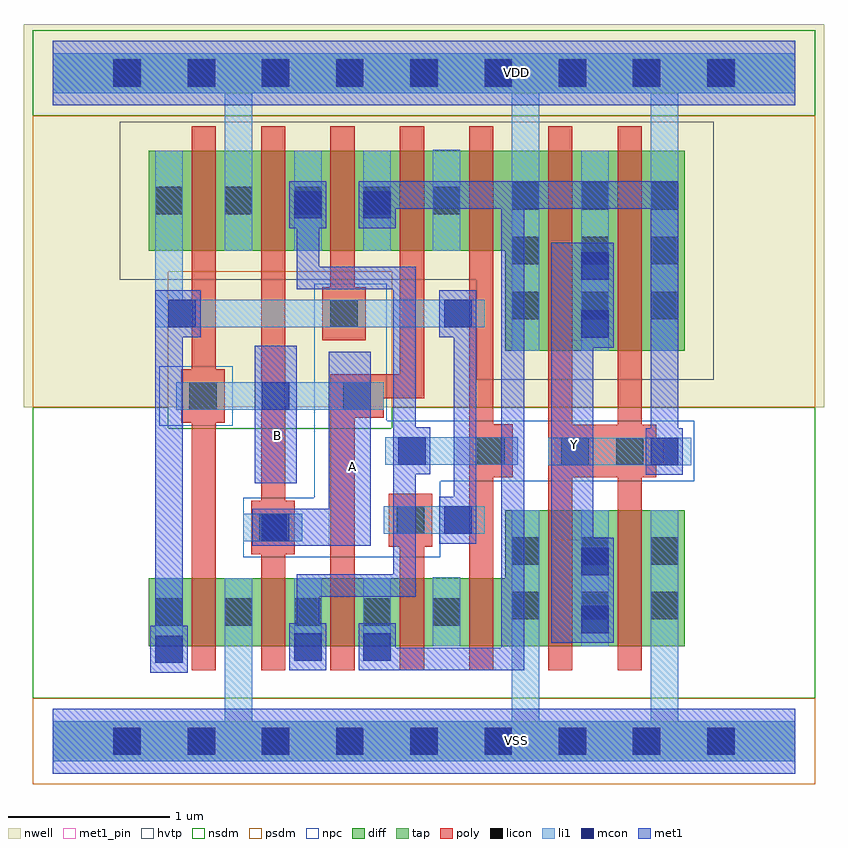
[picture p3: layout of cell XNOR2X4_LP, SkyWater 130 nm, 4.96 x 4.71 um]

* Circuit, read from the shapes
.subckt XNOR2X4_LP A B VDD VSS Y
XM1 VSS B n1 VSS sky130_fd_pr__nfet_01v8 w=0.42 l=0.15
XM2 n2 A VSS VSS sky130_fd_pr__nfet_01v8 w=0.42 l=0.15
XM3 n3 B n2 VSS sky130_fd_pr__nfet_01v8 w=0.42 l=0.15
XM4 n4 n1 n3 VSS sky130_fd_pr__nfet_01v8 w=0.42 l=0.15
XM5 VSS n2 n4 VSS sky130_fd_pr__nfet_01v8 w=0.42 l=0.15
XM6 Y n3 VSS VSS sky130_fd_pr__nfet_01v8 w=0.84 l=0.15 m=2
XM7 VDD B n1 VDD sky130_fd_pr__pfet_01v8_hvt w=0.62 l=0.15
XM8 n2 A VDD VDD sky130_fd_pr__pfet_01v8_hvt w=0.62 l=0.15
XM9 n3 n1 n2 VDD sky130_fd_pr__pfet_01v8_hvt w=0.62 l=0.15
XM10 n5 B n3 VDD sky130_fd_pr__pfet_01v8_hvt w=0.62 l=0.15
XM11 VDD n2 n5 VDD sky130_fd_pr__pfet_01v8_hvt w=0.62 l=0.15
XM12 Y n3 VDD VDD sky130_fd_pr__pfet_01v8_hvt w=1.24 l=0.15 m=2
.ends

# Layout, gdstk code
from math import pi, radians
import gdstk
lib = gdstk.Library(unit=1e-6, precision=1e-09)
def R(c, l, rs):  # rectangles x0, y0, x1, y1
    for r in rs: c.add(gdstk.rectangle(r[:2], r[2:], *l))
def A(c, l, x, y, w, h, nx, ny, dx, dy):  # array of equal rectangles
    R(c, l, [(x+i*dx, y+j*dy, x+i*dx+w, y+j*dy+h) for i in range(nx) for j in range(ny)])
def P(c, l, *ps):  # polygons
    for p in ps: c.add(gdstk.Polygon(p, *l))
nwell = (64, 20)
diff = (65, 20)
tap = (65, 44)
poly = (66, 20)
licon = (66, 44)
li1 = (67, 20)
mcon = (67, 44)
met1_pin = (68, 16)
met1 = (68, 20)
hvtp = (78, 44)
nsdm = (93, 44)
psdm = (94, 20)
npc = (95, 20)

l1m1_c_cdns_758729379651 = lib.new_cell('L1M1_C_CDNS_7587293796512')
R(l1m1_c_cdns_758729379651, li1, [(-0.165,-0.085,0.165,0.085)])
R(l1m1_c_cdns_758729379651, mcon, [(-0.085,-0.085,0.085,0.085)])
R(l1m1_c_cdns_758729379651, met1, [(-0.145,-0.115,0.145,0.115)])

pyl1con_c_cdns_758729379 = lib.new_cell('PYL1CON_C_CDNS_758729379653')
R(pyl1con_c_cdns_758729379, poly, [(-0.135,-0.165,0.135,0.165)])
R(pyl1con_c_cdns_758729379, licon, [(-0.085,-0.085,0.085,0.085)])
R(pyl1con_c_cdns_758729379, npc, [(-0.185,-0.185,0.185,0.185)])

l1m1_c_cdns_758729379655 = lib.new_cell('L1M1_C_CDNS_758729379655')
R(l1m1_c_cdns_758729379655, li1, [(-0.085,-0.165,0.085,0.165)])
R(l1m1_c_cdns_758729379655, mcon, [(-0.085,-0.085,0.085,0.085)])
R(l1m1_c_cdns_758729379655, met1, [(-0.115,-0.145,0.115,0.145)])

l1m1_c_cdns_758729379659 = lib.new_cell('L1M1_C_CDNS_758729379659')
R(l1m1_c_cdns_758729379659, li1, [(-0.085,-0.345,0.085,0.345)])
R(l1m1_c_cdns_758729379659, mcon, [(-0.085,-0.265,0.085,-0.095), (-0.085,0.095,0.085,0.265)])
R(l1m1_c_cdns_758729379659, met1, [(-0.115,-0.325,0.115,0.325)])

licondiff_c_cdns_7587293 = lib.new_cell('LICONDIFF_C_CDNS_758729379657')
R(licondiff_c_cdns_7587293, diff, [(-0.125,-0.145,0.125,0.145)])
R(licondiff_c_cdns_7587293, licon, [(-0.085,-0.085,0.085,0.085), (-0.085,-0.085,0.085,0.085)])

l1m1_c_cdns_758729379654 = lib.new_cell('L1M1_C_CDNS_758729379654')
R(l1m1_c_cdns_758729379654, li1, [(-0.165,-0.085,0.165,0.085)])
R(l1m1_c_cdns_758729379654, mcon, [(-0.085,-0.085,0.085,0.085)])
R(l1m1_c_cdns_758729379654, met1, [(-0.115,-0.145,0.115,0.145)])

c_l1m1_c_cdns_758729379651 = lib.new_cell('L1M1_C_CDNS_7587293796513')
R(c_l1m1_c_cdns_758729379651, li1, [(-0.085,-0.085,0.085,0.165)])
R(c_l1m1_c_cdns_758729379651, mcon, [(-0.085,-0.085,0.085,0.085)])
R(c_l1m1_c_cdns_758729379651, met1, [(-0.115,-0.145,0.115,0.145)])

c_pyl1con_c_cdns_758729379 = lib.new_cell('PYL1CON_C_CDNS_7587293796514')
R(c_pyl1con_c_cdns_758729379, poly, [(-0.165,-0.135,0.165,0.135)])
R(c_pyl1con_c_cdns_758729379, licon, [(-0.085,-0.085,0.085,0.085)])
R(c_pyl1con_c_cdns_758729379, npc, [(-0.185,-0.185,0.185,0.185)])

c_l1m1_c_cdns_758729379651_ = lib.new_cell('L1M1_C_CDNS_7587293796515')
R(c_l1m1_c_cdns_758729379651_, li1, [(-0.085,-0.06,0.085,0.19)])
R(c_l1m1_c_cdns_758729379651_, mcon, [(-0.085,-0.06,0.085,0.11)])
R(c_l1m1_c_cdns_758729379651_, met1, [(-0.115,-0.12,0.115,0.17)])

xnor2x4_lp = lib.new_cell('XNOR2X4_LP')
R(xnor2x4_lp, nwell, [(-0.18,2.07,4.78,4.445)])
P(xnor2x4_lp, diff, [(3.915,3.66),(0.595,3.66),(0.595,3.04),(2.805,3.04),(2.805,2.42),(3.915,2.42)],
  [(3.915,1.43),(2.805,1.43),(2.805,1.01),(0.595,1.01),(0.595,0.59),(3.915,0.59)])
R(xnor2x4_lp, poly, [(0.86,0.44,1.01,3.81), (1.29,0.44,1.44,1.16), (2.15,0.44,2.3,1.37), (2.58,0.44,2.73,3.81), (1.29,1.165,1.44,3.81), (1.72,2.575,1.87,3.81)])
P(xnor2x4_lp, poly, [(2.3,3.81),(2.15,3.81),(2.15,2.275),(1.72,2.275),(1.72,0.44),(1.87,0.44),(1.87,2.125),(2.3,2.125)],
  [(3.79,1.88),(3.74,1.88),(3.74,1.96),(3.65,1.96),(3.65,3.81),(3.5,3.81),(3.5,1.96),(3.22,1.96),(3.22,3.81),(3.07,3.81),(3.07,0.44),(3.22,0.44),(3.22,1.635),(3.5,1.635),(3.5,0.44),(3.65,0.44),(3.65,1.635),(3.74,1.635),(3.74,1.71),(3.79,1.71)])
A(xnor2x4_lp, licon, 0.375, -0.085, 0.17, 0.17, 9, 2, 0.46, 4.14)
A(xnor2x4_lp, licon, 0.635, 0.715, 0.17, 0.17, 4, 2, 0.43, 2.55)
A(xnor2x4_lp, licon, 2.845, 0.755, 0.17, 0.17, 3, 2, 0.43, 0.34)
A(xnor2x4_lp, licon, 2.845, 2.615, 0.17, 0.17, 3, 3, 0.43, 0.34)
R(xnor2x4_lp, li1, [(0.635,0.59,0.805,1.01), (1.495,0.59,1.665,1.01), (1.925,0.59,2.095,1.01), (3.275,0.59,3.445,1.43), (3.275,2.42,3.445,3.66), (1.495,3.04,1.665,3.66), (1.925,3.04,2.095,3.66)])
P(xnor2x4_lp, li1, [(2.395,2.735),(0.805,2.735),(0.805,3.66),(0.635,3.66),(0.635,2.565),(2.395,2.565)],
  [(4.6,4.265),(0,4.265),(0,4.015),(1.065,4.015),(1.065,3.04),(1.235,3.04),(1.235,4.015),(2.845,4.015),(2.845,2.42),(3.015,2.42),(3.015,4.015),(3.705,4.015),(3.705,2.42),(3.875,2.42),(3.875,4.015),(4.6,4.015)],
  [(4.6,0.125),(3.875,0.125),(3.875,1.43),(3.705,1.43),(3.705,0.125),(3.015,0.125),(3.015,1.43),(2.845,1.43),(2.845,0.125),(1.235,0.125),(1.235,1.01),(1.065,1.01),(1.065,0.125),(0,0.125),(0,-0.125),(4.6,-0.125)])
A(xnor2x4_lp, mcon, 0.375, -0.085, 0.17, 0.17, 9, 2, 0.46, 4.14)
R(xnor2x4_lp, met1_pin, [(1.71,1.21,1.97,2.415), (3.09,1.245,3.35,2.485), (1.25,1.6,1.51,2.45)])
P(xnor2x4_lp, met1, [(1.97,2.415),(1.71,2.415),(1.71,1.44),(1.38,1.44),(1.38,1.21),(1.97,1.21)],
  [(3.875,3.47),(1.94,3.47),(1.94,3.3),(2.78,3.3),(2.78,0.58),(2,0.58),(2,0.44),(2.92,0.44),(2.92,3.3),(3.705,3.3),(3.705,1.795),(3.875,1.795)])
P(xnor2x4_lp, hvtp, [(4.095,3.84),(0.415,3.84),(0.415,2.86),(2.625,2.86),(2.625,2.24),(4.095,2.24)])
R(xnor2x4_lp, nsdm, [(-0.125,3.875,4.725,4.405)])
P(xnor2x4_lp, nsdm, [(4.725,2.07),(2.1,2.07),(2.1,1.94),(0.715,1.94),(0.715,2.07),(-0.125,2.07),(-0.125,0.265),(4.725,0.265)])
R(xnor2x4_lp, psdm, [(-0.125,-0.265,4.725,0.265)])
P(xnor2x4_lp, psdm, [(4.725,3.875),(-0.125,3.875),(-0.125,2.07),(0.715,2.07),(0.715,2.91),(2.1,2.91),(2.1,2.07),(4.725,2.07)])
R(xnor2x4_lp, npc, [(0.66,1.955,1.03,2.325)])
P(xnor2x4_lp, npc, [(3.975,1.985),(2.07,1.985),(2.07,2.835),(1.62,2.835),(1.62,1.51),(1.18,1.51),(1.18,1.14),(2.4,1.14),(2.4,1.61),(3.975,1.61)])
xnor2x4_lp.add(gdstk.FlexPath([(2.44,3.04),(2.44,3.665)], 0.17, ends="flush", simple_path=True, layer=67, datatype=20))  # li1
xnor2x4_lp.add(gdstk.FlexPath([(2.44,0.59),(2.44,1.015)], 0.17, ends="flush", simple_path=True, layer=67, datatype=20))  # li1
xnor2x4_lp.add(gdstk.FlexPath([(3.07,1.795),(3.74,1.795)], 0.17, ends="flush", simple_path=True, layer=67, datatype=20))  # li1
xnor2x4_lp.add(gdstk.FlexPath([(2.675,1.37),(2.05,1.37)], 0.17, ends="flush", simple_path=True, layer=67, datatype=20))  # li1
xnor2x4_lp.add(gdstk.FlexPath([(2.05,2.14),(0.765,2.14)], 0.17, ends="flush", simple_path=True, layer=67, datatype=20))  # li1
xnor2x4_lp.add(gdstk.FlexPath([(2.06,1.8),(2.88,1.8)], 0.17, ends="flush", simple_path=True, layer=67, datatype=20))  # li1
xnor2x4_lp.add(gdstk.FlexPath([(1.18,1.325),(1.53,1.325)], 0.17, ends="flush", simple_path=True, layer=67, datatype=20))  # li1
xnor2x4_lp.add(gdstk.FlexPath([(0,4.14),(4.6,4.14)], 0.4, ends="flush", simple_path=True, layer=68, datatype=20))  # met1
xnor2x4_lp.add(gdstk.FlexPath([(0,0),(4.6,0)], 0.4, ends="flush", simple_path=True, layer=68, datatype=20))  # met1
xnor2x4_lp.add(gdstk.FlexPath([(1.58,3.325),(1.58,2.87),(2.18,2.87),(2.18,0.965),(1.58,0.965),(1.58,0.585)], 0.14, ends="flush", simple_path=True, layer=68, datatype=20))  # met1
xnor2x4_lp.add(gdstk.FlexPath([(2.555,1.37),(2.555,2.65)], 0.14, ends="flush", simple_path=True, layer=68, datatype=20))  # met1
xnor2x4_lp.add(gdstk.FlexPath([(0.72,2.795),(0.72,0.425)], 0.17, ends="flush", simple_path=True, layer=68, datatype=20))  # met1
xnor2x4_lp.add(gdstk.FlexPath([(3.22,0.61),(3.22,3.09)], 0.26, ends="flush", simple_path=True, layer=68, datatype=20))  # met1
xnor2x4_lp.add(gdstk.FlexPath([(1.38,1.6),(1.38,2.45)], 0.26, ends="flush", simple_path=True, layer=68, datatype=20))  # met1
xnor2x4_lp.add(gdstk.FlexPath([(0,4.14),(4.6,4.14)], 0.25, ends="flush", simple_path=True, layer=65, datatype=44))  # tap
xnor2x4_lp.add(gdstk.FlexPath([(0,0),(4.6,0)], 0.25, ends="flush", simple_path=True, layer=65, datatype=44))  # tap
xnor2x4_lp.add(gdstk.FlexPath([(0,4.14),(4.6,4.14)], 0.4, ends="flush", simple_path=True, layer=68, datatype=16))  # met1_pin
xnor2x4_lp.add(gdstk.FlexPath([(0,0),(4.6,0)], 0.4, ends="flush", simple_path=True, layer=68, datatype=16))  # met1_pin
xnor2x4_lp.add(gdstk.Reference(l1m1_c_cdns_758729379651, (1.38,1.325), x_reflection=True))
xnor2x4_lp.add(gdstk.Reference(pyl1con_c_cdns_758729379, (3.575,1.795), rotation=3*pi/2, x_reflection=True))
xnor2x4_lp.add(gdstk.Reference(pyl1con_c_cdns_758729379, (3.235,1.795), rotation=3*pi/2, x_reflection=True))
xnor2x4_lp.add(gdstk.Reference(pyl1con_c_cdns_758729379, (1.365,1.325), x_reflection=True))
xnor2x4_lp.add(gdstk.Reference(pyl1con_c_cdns_758729379, (2.715,1.8), x_reflection=True))
xnor2x4_lp.add(gdstk.Reference(pyl1con_c_cdns_758729379, (0.93,2.14), x_reflection=True))
xnor2x4_lp.add(gdstk.Reference(pyl1con_c_cdns_758729379, (2.215,1.37), x_reflection=True))
xnor2x4_lp.add(gdstk.Reference(pyl1con_c_cdns_758729379, (1.805,2.65), x_reflection=True))
xnor2x4_lp.add(gdstk.Reference(l1m1_c_cdns_758729379655, (1.58,3.325)))
xnor2x4_lp.add(gdstk.Reference(l1m1_c_cdns_758729379655, (2.01,3.325)))
xnor2x4_lp.add(gdstk.Reference(l1m1_c_cdns_758729379659, (3.36,2.765)))
xnor2x4_lp.add(gdstk.Reference(l1m1_c_cdns_758729379659, (3.36,0.935)))
xnor2x4_lp.add(gdstk.Reference(licondiff_c_cdns_7587293, (2.44,3.35)))
xnor2x4_lp.add(gdstk.Reference(licondiff_c_cdns_7587293, (2.44,0.8)))
xnor2x4_lp.add(gdstk.Reference(l1m1_c_cdns_758729379654, (1.38,2.14), x_reflection=True))
xnor2x4_lp.add(gdstk.Reference(l1m1_c_cdns_758729379654, (0.8,2.65)))
xnor2x4_lp.add(gdstk.Reference(l1m1_c_cdns_758729379654, (2.225,1.8)))
xnor2x4_lp.add(gdstk.Reference(l1m1_c_cdns_758729379654, (2.51,2.65)))
xnor2x4_lp.add(gdstk.Reference(l1m1_c_cdns_758729379654, (2.51,1.37)))
xnor2x4_lp.add(gdstk.Reference(l1m1_c_cdns_758729379654, (3.79,1.795)))
xnor2x4_lp.add(gdstk.Reference(c_l1m1_c_cdns_758729379651, (1.58,0.585)))
xnor2x4_lp.add(gdstk.Reference(c_l1m1_c_cdns_758729379651, (2.01,0.585)))
xnor2x4_lp.add(gdstk.Reference(c_pyl1con_c_cdns_758729379, (1.885,2.14), x_reflection=True))
xnor2x4_lp.add(gdstk.Reference(c_l1m1_c_cdns_758729379651_, (0.72,0.545)))
xnor2x4_lp.add(gdstk.Label('VDD', (2.875,4.145), layer=68, texttype=5))
xnor2x4_lp.add(gdstk.Label('B', (1.395,1.895), layer=68, texttype=5))
xnor2x4_lp.add(gdstk.Label('Y', (3.235,1.84), layer=68, texttype=5))
xnor2x4_lp.add(gdstk.Label('A', (1.855,1.7), layer=68, texttype=5))
xnor2x4_lp.add(gdstk.Label('VSS', (2.875,0.005), layer=68, texttype=5))

lib.write_gds('XNOR2X4_LP.gds')
